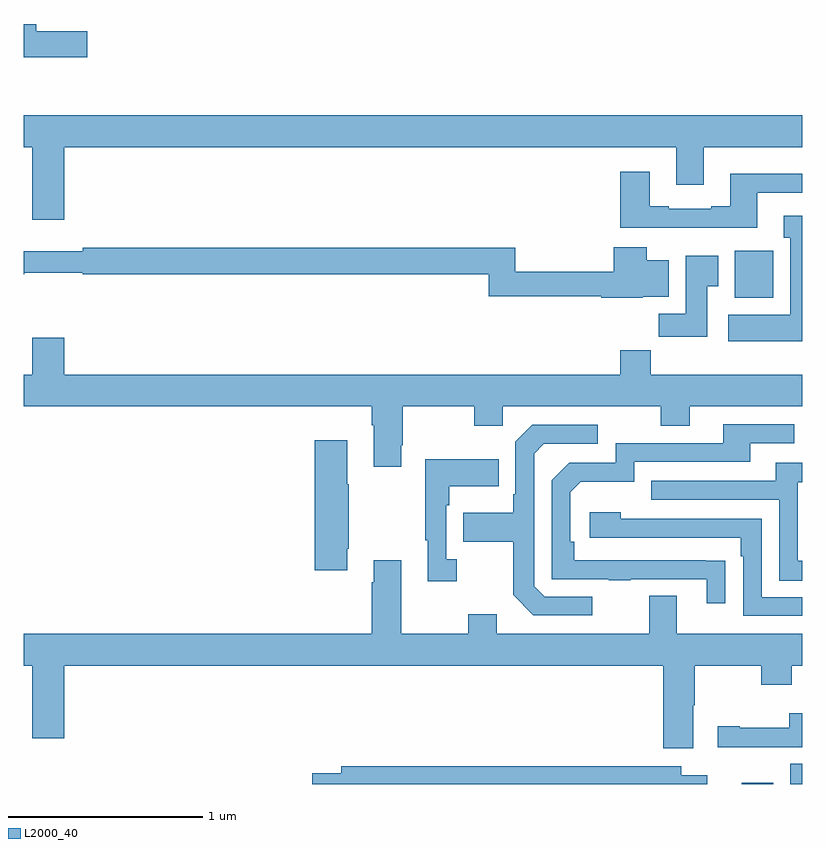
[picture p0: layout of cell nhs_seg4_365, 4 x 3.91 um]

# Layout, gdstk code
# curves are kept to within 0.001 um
import gdstk
lib = gdstk.Library(unit=1e-6, precision=1e-09)
def R(c, l, rs):  # rectangles x0, y0, x1, y1
    for r in rs: c.add(gdstk.rectangle(r[:2], r[2:], *l))
def P(c, l, *ps):  # polygons
    for p in ps: c.add(gdstk.Polygon(p, *l))
L2000_40 = (2000, 40)

nhs_seg4_365 = lib.new_cell('nhs_seg4_365')
R(nhs_seg4_365, L2000_40, [(132.689,774.9,132.85,774.907), (132.938,774.9,133,775.003), (132.653,777.398,132.85,777.64)])
P(nhs_seg4_365, L2000_40, [(129.325,778.769),(129.064,778.769),(129.064,778.805),(129,778.805),(129,778.634),(129.325,778.634)],
  [(129.208,778.172),(132.353,778.172),(132.353,777.978),(132.493,777.978),(132.493,778.172),(133,778.172),(133,778.336),(129,778.336),(129,778.172),(129.044,778.172),(129.044,777.798),(129.208,777.798)],
  [(132.769,777.939),(133,777.939),(133,778.036),(132.629,778.036),(132.629,777.868),(132.533,777.868),(132.533,777.855),(132.313,777.855),(132.313,777.868),(132.217,777.868),(132.217,778.045),(132.065,778.045),(132.065,777.758),(132.769,777.758)],
  [(133,777.82),(132.905,777.82),(132.905,777.707),(132.938,777.707),(132.938,777.31),(132.621,777.31),(132.621,777.176),(133,777.176)],
  [(132.18,777.404),(132.313,777.404),(132.313,777.592),(132.202,777.592),(132.202,777.658),(132.032,777.658),(132.032,777.533),(131.525,777.533),(131.525,777.656),(129.304,777.656),(129.304,777.637),(129,777.637),(129,777.52),(129.002,777.52),(129.002,777.528),(129.302,777.528),(129.302,777.52),(131.389,777.52),(131.389,777.405),(131.966,777.405),(131.966,777.398),(132.18,777.398)],
  [(132.511,777.457),(132.568,777.457),(132.568,777.613),(132.401,777.613),(132.401,777.316),(132.262,777.316),(132.262,777.198),(132.511,777.198)],
  [(130.939,776.641),(130.947,776.641),(130.947,776.84),(131.314,776.84),(131.314,776.741),(131.46,776.741),(131.46,776.84),(132.274,776.84),(132.274,776.741),(132.421,776.741),(132.421,776.84),(133,776.84),(133,777.004),(132.221,777.004),(132.221,777.128),(132.065,777.128),(132.065,777.004),(129.208,777.004),(129.208,777.193),(129.044,777.193),(129.044,777.004),(129,777.004),(129,776.84),(130.787,776.84),(130.787,776.744),(130.799,776.744),(130.799,776.529),(130.939,776.529)],
  [(132.605,776.048),(131.828,776.049),(131.828,776.146),(131.808,776.146),(131.808,776.4),(131.861,776.453),(132.138,776.453),(132.138,776.556),(132.733,776.556),(132.733,776.652),(132.958,776.652),(132.958,776.748),(132.593,776.748),(132.593,776.652),(132.042,776.652),(132.042,776.55),(131.802,776.55),(131.712,776.46),(131.712,775.953),(132.007,775.953),(132.007,775.948),(132.119,775.948),(132.119,775.953),(132.509,775.953),(132.509,775.83),(132.605,775.83)],
  [(131.92,775.863),(131.676,775.863),(131.622,775.917),(131.622,776.598),(131.673,776.649),(131.95,776.649),(131.95,776.745),(131.613,776.745),(131.526,776.658),(131.526,776.389),(131.514,776.389),(131.514,776.293),(131.257,776.293),(131.257,776.146),(131.514,776.146),(131.514,775.873),(131.619,775.767),(131.92,775.767)],
  [(130.663,776.11),(130.671,776.11),(130.671,776.441),(130.663,776.441),(130.663,776.665),(130.496,776.665),(130.496,775.998),(130.663,775.998)],
  [(131.224,776.054),(131.172,776.054),(131.172,776.333),(131.185,776.333),(131.185,776.429),(131.441,776.429),(131.441,776.569),(131.064,776.569),(131.064,776.153),(131.075,776.153),(131.075,775.941),(131.224,775.941)],
  [(133,776.046),(132.978,776.046),(132.978,776.451),(133,776.451),(133,776.551),(132.863,776.551),(132.863,776.457),(132.223,776.457),(132.223,776.361),(132.882,776.361),(132.882,775.945),(133,775.945)],
  [(133,775.86),(132.792,775.86),(132.792,776.262),(132.068,776.262),(132.068,776.296),(131.907,776.296),(131.907,776.166),(132.683,776.166),(132.683,776.069),(132.696,776.069),(132.696,775.764),(133,775.764)],
  [(132.439,775.304),(132.447,775.304),(132.447,775.508),(132.79,775.508),(132.79,775.409),(132.945,775.409),(132.945,775.508),(133,775.508),(133,775.672),(132.355,775.672),(132.355,775.867),(132.215,775.867),(132.215,775.672),(131.431,775.672),(131.431,775.771),(131.284,775.771),(131.284,775.672),(130.939,775.672),(130.939,776.05),(130.799,776.05),(130.799,775.937),(130.787,775.937),(130.787,775.672),(129,775.672),(129,775.508),(129.044,775.508),(129.044,775.134),(129.208,775.134),(129.208,775.508),(132.287,775.508),(132.287,775.083),(132.439,775.083)],
  [(132.836,775.089),(133,775.089),(133,775.264),(132.932,775.264),(132.932,775.188),(132.679,775.188),(132.679,775.198),(132.567,775.198),(132.567,775.088),(132.836,775.088)],
  [(132.511,774.946),(132.378,774.946),(132.378,774.992),(130.631,774.992),(130.631,774.956),(130.482,774.956),(130.482,774.9),(132.511,774.9)])

lib.write_gds('nhs_seg4_365.gds')
